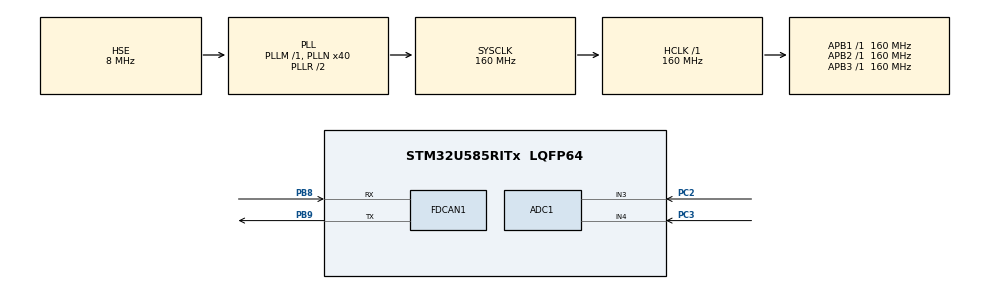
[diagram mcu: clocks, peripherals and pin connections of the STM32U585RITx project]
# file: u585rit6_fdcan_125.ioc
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ADC1.NbrOfConversion=1
ADC1.master=1
CORTEX_M33_NS.userName=CORTEX_M33
FDCAN1.CalculateBaudRateNominal=1000000
FDCAN1.CalculateTimeBitNominal=1000
FDCAN1.CalculateTimeQuantumNominal=62.5
FDCAN1.NominalPrescaler=10
FDCAN1.NominalTimeSeg1=13
FDCAN1.NominalTimeSeg2=2
Mcu.Family=STM32U5
Mcu.Name=STM32U585RITx
Mcu.Package=LQFP64
NVIC.FDCAN1_IT0_IRQn=true\:0\:0\:false\:false\:true\:true\:true\:true
NVIC.FDCAN1_IT1_IRQn=true\:0\:0\:false\:false\:true\:true\:true\:true
NVIC.PriorityGroup=NVIC_PRIORITYGROUP_4
NVIC.TIM2_IRQn=true\:0\:0\:false\:false\:true\:true\:true\:true
PB8.Mode=FDCAN_Activate
PB8.Signal=FDCAN1_RX
PB9.Mode=FDCAN_Activate
PB9.Signal=FDCAN1_TX
PC2.Mode=IN3-Single-Ended
PC2.Signal=ADC1_IN3
PC3.Mode=IN4-Single-Ended
PC3.Signal=ADC1_IN4
PH0-OSC_IN\ (PH0).Mode=HSE-External-Oscillator
PH0-OSC_IN\ (PH0).Signal=RCC_OSC_IN
PH1-OSC_OUT\ (PH1).Mode=HSE-External-Oscillator
PH1-OSC_OUT\ (PH1).Signal=RCC_OSC_OUT
ProjectManager.HeapSize=0x200
ProjectManager.StackSize=0x400
ProjectManager.TargetToolchain=STM32CubeIDE
RCC.ADCFreq_Value=16000000
RCC.AHBFreq_Value=160000000
RCC.APB1Freq_Value=160000000
RCC.APB1TimFreq_Value=160000000
RCC.APB2Freq_Value=160000000
RCC.APB2TimFreq_Value=160000000
RCC.APB3Freq_Value=160000000
RCC.CortexFreq_Value=160000000
RCC.EPOD_VALUE=8000000
RCC.HCLKFreq_Value=160000000
RCC.HSE_VALUE=8000000
RCC.HSI48_VALUE=48000000
RCC.HSI_VALUE=16000000
RCC.LSE_VALUE=32768
RCC.LSIDIV_VALUE=32000
RCC.MSI_VALUE=4000000
RCC.PLL2Source=RCC_PLLSOURCE_HSE
RCC.PLL3Source=RCC_PLLSOURCE_HSE
RCC.PLLN=40
RCC.PLLSourceVirtual=RCC_PLLSOURCE_HSE
RCC.SYSCLKFreq_VALUE=160000000
RCC.SYSCLKSource=RCC_SYSCLKSOURCE_PLLCLK
RCC.USBFreq_Value=48000000
RCC.VCOOutputFreq_Value=320000000
TIM2.PeriodNoDither=9
TIM2.Prescaler=15999
VP_LPBAMQUEUE_VS_QUEUE.Mode=QUEUEMODE
VP_LPBAM_VS_SIG1.Mode=SmartRun
VP_LPBAM_VS_SIG4.Mode=LPDMA1
VP_MEMORYMAP_VS_MEMORYMAP.Mode=CurAppReg
VP_PWR_VS_SECSignals.Mode=Security/Privilege
VP_PWR_Vdda.Mode=isolationVdda
VP_TIM2_VS_ClockSourceINT.Mode=Internal
board=custom

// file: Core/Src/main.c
/* USER CODE BEGIN Header */
/**
  ******************************************************************************
  * @file           : main.c
  * @brief          : Main program body
  ******************************************************************************
  * @attention
  *
  * Copyright (c) 2026 STMicroelectronics.
  * All rights reserved.
  *
  * This software is licensed under terms that can be found in the LICENSE file
  * in the root directory of this software component.
  * If no LICENSE file comes with this software, it is provided AS-IS.
  *
  ******************************************************************************
  */
/* USER CODE END Header */
#include "main.h"

/* USER CODE BEGIN Includes */
#include "CO_app_STM32.h"
#include "OD.h"
/* USER CODE END Includes */

ADC_HandleTypeDef hadc1;

FDCAN_HandleTypeDef hfdcan1;

TIM_HandleTypeDef htim2;

void SystemClock_Config(void);
static void MX_GPIO_Init(void);
static void MX_TIM2_Init(void);
static void MX_ADC1_Init(void);
static void MX_FDCAN1_Init(void);

/* USER CODE BEGIN 0 */
void HAL_TIM_PeriodElapsedCallback(TIM_HandleTypeDef* htim) {
    if (htim == canopenNodeSTM32->timerHandle) {
        canopen_app_interrupt();
    }
}

/* USER CODE END 0 */

int main(void)
{

  /* MCU Configuration--------------------------------------------------------*/

  /* Reset of all peripherals, Initializes the Flash interface and the Systick. */
  HAL_Init();

  /* Configure the system clock */
  SystemClock_Config();

  /* Initialize all configured peripherals */
  MX_GPIO_Init();
  MX_TIM2_Init();
  MX_ADC1_Init();
  MX_FDCAN1_Init();
  /* USER CODE BEGIN 2 */

  uint32_t sysClkFreq = HAL_RCC_GetSysClockFreq();
    uint32_t hclkFreq = HAL_RCC_GetHCLKFreq();
    uint32_t pclk1Freq = HAL_RCC_GetPCLK1Freq();
    uint32_t pclk2Freq = HAL_RCC_GetPCLK2Freq();
    uint32_t pclk3Freq = HAL_RCC_GetPCLK3Freq();
    uint32_t canFreq = HAL_RCCEx_GetPeriphCLKFreq(RCC_PERIPHCLK_FDCAN1);
    uint32_t adcFreq = HAL_RCCEx_GetPeriphCLKFreq(RCC_PERIPHCLK_ADCDAC);
    PLL1_ClocksTypeDef pll1Cfg;
    HAL_RCCEx_GetPLL1ClockFreq(&pll1Cfg);

  CANopenNodeSTM32 canOpenNodeSTM32;
    canOpenNodeSTM32.CANHandle = &hfdcan1;
    canOpenNodeSTM32.HWInitFunction = MX_FDCAN1_Init;
    canOpenNodeSTM32.timerHandle = &htim2;
    canOpenNodeSTM32.desiredNodeID = 0x30;
    canOpenNodeSTM32.baudrate = 1000;  // in kb/s
    canopen_app_init(&canOpenNodeSTM32); // CO initialised in here!
  /* USER CODE END 2 */

  /* Infinite loop */
  /* USER CODE BEGIN WHILE */
  while (1)
  {
	  canopen_app_process();

	  //OD_PERSIST_COMM.x6000_velocity++;
	  HAL_Delay(100);
	  CO_TPDOsendRequest(&canOpenNodeSTM32.canOpenStack->TPDO[0]);
	    CO_TPDOsendRequest(&canOpenNodeSTM32.canOpenStack->TPDO[1]);
	    CO_TPDOsendRequest(&canOpenNodeSTM32.canOpenStack->TPDO[2]);
    /* USER CODE END WHILE */

  }
}

void SystemClock_Config(void)
{
  RCC_OscInitTypeDef RCC_OscInitStruct = {0};
  RCC_ClkInitTypeDef RCC_ClkInitStruct = {0};

  /** Configure the main internal regulator output voltage
  */
  if (HAL_PWREx_ControlVoltageScaling(PWR_REGULATOR_VOLTAGE_SCALE1) != HAL_OK)
  {
    Error_Handler();
  }

  /** Initializes the CPU, AHB and APB buses clocks
  */
  RCC_OscInitStruct.OscillatorType = RCC_OSCILLATORTYPE_HSI|RCC_OSCILLATORTYPE_HSE;
  RCC_OscInitStruct.HSEState = RCC_HSE_ON;
  RCC_OscInitStruct.HSIState = RCC_HSI_ON;
  RCC_OscInitStruct.HSICalibrationValue = RCC_HSICALIBRATION_DEFAULT;
  RCC_OscInitStruct.PLL.PLLState = RCC_PLL_ON;
  RCC_OscInitStruct.PLL.PLLSource = RCC_PLLSOURCE_HSE;
  RCC_OscInitStruct.PLL.PLLMBOOST = RCC_PLLMBOOST_DIV1;
  RCC_OscInitStruct.PLL.PLLM = 1;
  RCC_OscInitStruct.PLL.PLLN = 40;
  RCC_OscInitStruct.PLL.PLLP = 2;
  RCC_OscInitStruct.PLL.PLLQ = 2;
  RCC_OscInitStruct.PLL.PLLR = 2;
  RCC_OscInitStruct.PLL.PLLRGE = RCC_PLLVCIRANGE_1;
  RCC_OscInitStruct.PLL.PLLFRACN = 0;
  if (HAL_RCC_OscConfig(&RCC_OscInitStruct) != HAL_OK)
  {
    Error_Handler();
  }

  /** Initializes the CPU, AHB and APB buses clocks
  */
  RCC_ClkInitStruct.ClockType = RCC_CLOCKTYPE_HCLK|RCC_CLOCKTYPE_SYSCLK
                              |RCC_CLOCKTYPE_PCLK1|RCC_CLOCKTYPE_PCLK2
                              |RCC_CLOCKTYPE_PCLK3;
  RCC_ClkInitStruct.SYSCLKSource = RCC_SYSCLKSOURCE_PLLCLK;
  RCC_ClkInitStruct.AHBCLKDivider = RCC_SYSCLK_DIV1;
  RCC_ClkInitStruct.APB1CLKDivider = RCC_HCLK_DIV1;
  RCC_ClkInitStruct.APB2CLKDivider = RCC_HCLK_DIV1;
  RCC_ClkInitStruct.APB3CLKDivider = RCC_HCLK_DIV1;

  if (HAL_RCC_ClockConfig(&RCC_ClkInitStruct, FLASH_LATENCY_4) != HAL_OK)
  {
    Error_Handler();
  }
}

static void MX_ADC1_Init(void)
{

  /** Common config
  */
  hadc1.Instance = ADC1;
  hadc1.Init.ClockPrescaler = ADC_CLOCK_ASYNC_DIV1;
  hadc1.Init.Resolution = ADC_RESOLUTION_14B;
  hadc1.Init.GainCompensation = 0;
  hadc1.Init.ScanConvMode = ADC_SCAN_DISABLE;
  hadc1.Init.EOCSelection = ADC_EOC_SINGLE_CONV;
  hadc1.Init.LowPowerAutoWait = DISABLE;
  hadc1.Init.ContinuousConvMode = DISABLE;
  hadc1.Init.NbrOfConversion = 1;
  hadc1.Init.DiscontinuousConvMode = DISABLE;
  hadc1.Init.DMAContinuousRequests = DISABLE;
  hadc1.Init.TriggerFrequencyMode = ADC_TRIGGER_FREQ_HIGH;
  hadc1.Init.Overrun = ADC_OVR_DATA_PRESERVED;
  hadc1.Init.LeftBitShift = ADC_LEFTBITSHIFT_NONE;
  hadc1.Init.ConversionDataManagement = ADC_CONVERSIONDATA_DR;
  hadc1.Init.OversamplingMode = DISABLE;
  if (HAL_ADC_Init(&hadc1) != HAL_OK)
  {
    Error_Handler();
  }

}

static void MX_FDCAN1_Init(void)
{

  hfdcan1.Instance = FDCAN1;
  hfdcan1.Init.ClockDivider = FDCAN_CLOCK_DIV1;
  hfdcan1.Init.FrameFormat = FDCAN_FRAME_CLASSIC;
  hfdcan1.Init.Mode = FDCAN_MODE_NORMAL;
  hfdcan1.Init.AutoRetransmission = DISABLE;
  hfdcan1.Init.TransmitPause = DISABLE;
  hfdcan1.Init.ProtocolException = DISABLE;
  hfdcan1.Init.NominalPrescaler = 10;
  hfdcan1.Init.NominalSyncJumpWidth = 1;
  hfdcan1.Init.NominalTimeSeg1 = 13;
  hfdcan1.Init.NominalTimeSeg2 = 2;
  hfdcan1.Init.DataPrescaler = 1;
  hfdcan1.Init.DataSyncJumpWidth = 1;
  hfdcan1.Init.DataTimeSeg1 = 1;
  hfdcan1.Init.DataTimeSeg2 = 1;
  hfdcan1.Init.StdFiltersNbr = 0;
  hfdcan1.Init.ExtFiltersNbr = 0;
  hfdcan1.Init.TxFifoQueueMode = FDCAN_TX_FIFO_OPERATION;
  if (HAL_FDCAN_Init(&hfdcan1) != HAL_OK)
  {
    Error_Handler();
  }

}

static void MX_TIM2_Init(void)
{

  TIM_ClockConfigTypeDef sClockSourceConfig = {0};
  TIM_MasterConfigTypeDef sMasterConfig = {0};

  htim2.Instance = TIM2;
  htim2.Init.Prescaler = 15999;
  htim2.Init.CounterMode = TIM_COUNTERMODE_UP;
  htim2.Init.Period = 9;
  htim2.Init.ClockDivision = TIM_CLOCKDIVISION_DIV1;
  htim2.Init.AutoReloadPreload = TIM_AUTORELOAD_PRELOAD_DISABLE;
  if (HAL_TIM_Base_Init(&htim2) != HAL_OK)
  {
    Error_Handler();
  }
  sClockSourceConfig.ClockSource = TIM_CLOCKSOURCE_INTERNAL;
  if (HAL_TIM_ConfigClockSource(&htim2, &sClockSourceConfig) != HAL_OK)
  {
    Error_Handler();
  }
  sMasterConfig.MasterOutputTrigger = TIM_TRGO_RESET;
  sMasterConfig.MasterSlaveMode = TIM_MASTERSLAVEMODE_DISABLE;
  if (HAL_TIMEx_MasterConfigSynchronization(&htim2, &sMasterConfig) != HAL_OK)
  {
    Error_Handler();
  }

}

static void MX_GPIO_Init(void)
{

  /* GPIO Ports Clock Enable */
  __HAL_RCC_GPIOH_CLK_ENABLE();
  __HAL_RCC_GPIOC_CLK_ENABLE();
  __HAL_RCC_GPIOB_CLK_ENABLE();

}

void Error_Handler(void)
{
  __disable_irq();
  while (1)
  {
  }
}
